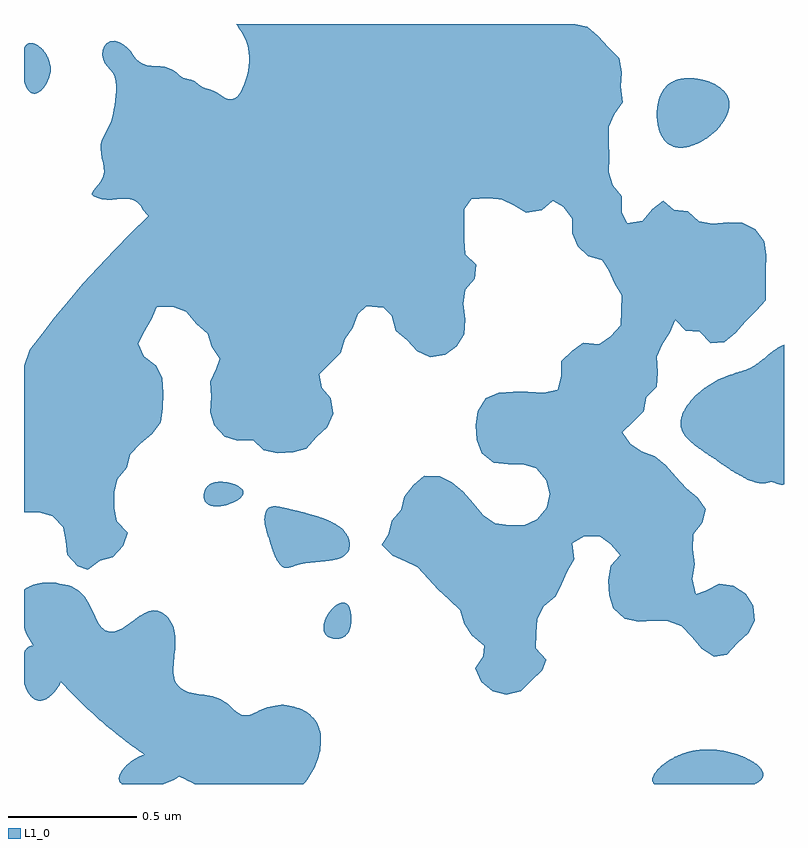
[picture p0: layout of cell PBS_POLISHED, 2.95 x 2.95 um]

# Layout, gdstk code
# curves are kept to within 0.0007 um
import gdstk
lib = gdstk.Library(unit=1e-6, precision=1e-09)
def P(c, l, *ps):  # polygons
    for p in ps: c.add(gdstk.Polygon(p, *l))
L1_0 = (1, 0)

pbs_polished = lib.new_cell('PBS_POLISHED')
P(pbs_polished, L1_0, [(-1.436,-1.176),(-1.421,-1.173),(-1.409,-1.167),(-1.39,-1.152),(-1.373,-1.132),(-1.365,-1.12),(-1.356,-1.101),(-1.352,-1.09),(-1.349,-1.074),(-1.349,-1.058),(-1.5,-1.058),(-1.5,-1.109),(-1.496,-1.121),(-1.487,-1.14),(-1.475,-1.157),(-1.463,-1.168),(-1.454,-1.173),(-1.448,-1.175)],
  [(-1.349,-1.057),(-1.353,-1.039),(-1.356,-1.033),(-1.356,-1.031),(-1.364,-1.016),(-1.374,-1.003),(-1.385,-0.993),(-1.389,-0.988),(-1.393,-0.986),(-1.394,-0.984),(-1.411,-0.973),(-1.413,-0.973),(-1.422,-0.968),(-1.433,-0.964),(-1.447,-0.961),(-1.465,-0.961),(-1.466,-0.962),(-1.469,-0.962),(-1.475,-0.964),(-1.486,-0.97),(-1.497,-0.983),(-1.5,-0.989),(-1.5,-1.058),(-1.349,-1.058)],
  [(-0.916,-1.093),(-0.92,-1.068),(-0.92,-1.047),(-0.916,-1),(-0.916,-0.904),(-0.918,-0.893),(-0.922,-0.883),(-0.933,-0.863),(-0.947,-0.847),(-0.955,-0.84),(-0.971,-0.83),(-0.98,-0.827),(-0.997,-0.825),(-1.015,-0.829),(-1.023,-0.832),(-1.05,-0.847),(-1.106,-0.888),(-1.116,-0.894),(-1.135,-0.903),(-1.145,-0.906),(-1.154,-0.908),(-1.172,-0.907),(-1.186,-0.902),(-1.193,-0.897),(-1.204,-0.885),(-1.219,-0.86),(-1.232,-0.831),(-1.252,-0.791),(-1.264,-0.772),(-1.271,-0.764),(-1.287,-0.749),(-1.306,-0.737),(-1.317,-0.732),(-1.339,-0.725),(-1.374,-0.719),(-1.386,-0.718),(-1.419,-0.718),(-1.439,-0.72),(-1.464,-0.726),(-1.478,-0.731),(-1.496,-0.742),(-1.5,-0.746),(-1.5,-0.892),(-1.498,-0.901),(-1.484,-0.929),(-1.46,-0.969),(-1.439,-1),(-1.415,-1.032),(-1.371,-1.086),(-1.321,-1.141),(-1.243,-1.218),(-1.17,-1.282),(-1.079,-1.353),(-1.053,-1.372),(-0.972,-1.426),(-0.916,-1.459)],
  [(-0.915,-0.988),(-0.913,-0.976),(-0.913,-0.964),(-0.912,-0.951),(-0.912,-0.939),(-0.912,-0.927),(-0.914,-0.915),(-0.916,-0.904),(-0.916,-0.997)],
  [(-0.406,-1.492),(-0.381,-1.455),(-0.366,-1.424),(-0.358,-1.403),(-0.349,-1.37),(-0.346,-1.348),(-0.346,-1.317),(-0.347,-1.306),(-0.355,-1.278),(-0.363,-1.26),(-0.368,-1.252),(-0.374,-1.245),(-0.395,-1.225),(-0.421,-1.21),(-0.43,-1.206),(-0.449,-1.2),(-0.47,-1.195),(-0.501,-1.193),(-0.523,-1.195),(-0.544,-1.199),(-0.554,-1.202),(-0.584,-1.214),(-0.593,-1.219),(-0.612,-1.227),(-0.621,-1.23),(-0.638,-1.233),(-0.654,-1.232),(-0.67,-1.223),(-0.685,-1.211),(-0.709,-1.189),(-0.718,-1.182),(-0.736,-1.171),(-0.767,-1.16),(-0.841,-1.148),(-0.86,-1.143),(-0.877,-1.136),(-0.891,-1.127),(-0.903,-1.116),(-0.912,-1.103),(-0.916,-1.093),(-0.916,-1.459),(-0.891,-1.473),(-0.85,-1.494),(-0.836,-1.5),(-0.414,-1.5)],
  [(-1.206,-0.633),(-1.155,-0.619),(-1.114,-0.575),(-1.097,-0.524),(-1.14,-0.479),(-1.15,-0.428),(-1.15,-0.367),(-1.137,-0.315),(-1.1,-0.272),(-1.087,-0.219),(-1.048,-0.177),(-1.001,-0.139),(-0.968,-0.094),(-0.96,-0.04),(-0.959,0.019),(-0.962,0.077),(-0.986,0.125),(-1.035,0.163),(-1.057,0.211),(-1.031,0.262),(-1.004,0.308),(-0.984,0.354),(-0.917,0.352),(-0.87,0.335),(-0.83,0.289),(-0.787,0.25),(-0.77,0.199),(-0.74,0.152),(-0.753,0.113),(-0.777,0.063),(-0.772,0.004),(-0.777,-0.056),(-0.761,-0.106),(-0.72,-0.15),(-0.669,-0.166),(-0.61,-0.164),(-0.569,-0.204),(-0.514,-0.214),(-0.454,-0.211),(-0.403,-0.197),(-0.363,-0.15),(-0.322,-0.113),(-0.299,-0.061),(-0.308,-0.002),(-0.343,0.04),(-0.353,0.093),(-0.309,0.136),(-0.27,0.176),(-0.253,0.228),(-0.223,0.272),(-0.204,0.325),(-0.17,0.356),(-0.102,0.35),(-0.071,0.319),(-0.056,0.262),(-0.011,0.224),(0.028,0.182),(0.078,0.159),(0.136,0.167),(0.181,0.201),(0.21,0.248),(0.215,0.305),(0.207,0.366),(0.215,0.42),(0.251,0.463),(0.257,0.517),(0.214,0.558),(0.211,0.615),(0.21,0.734),(0.238,0.772),(0.299,0.776),(0.345,0.772),(0.345,1.453),(0.086,1.453),(0.014,1.429),(-0.059,1.397),(-0.134,1.361),(-0.209,1.32),(-0.284,1.277),(-0.36,1.23),(-0.436,1.18),(-0.512,1.128),(-0.587,1.073),(-0.662,1.015),(-0.736,0.956),(-0.809,0.895),(-0.881,0.833),(-0.951,0.769),(-1.019,0.705),(-1.086,0.64),(-1.15,0.574),(-1.212,0.508),(-1.271,0.443),(-1.327,0.378),(-1.38,0.313),(-1.43,0.25),(-1.477,0.187),(-1.5,0.126),(-1.5,-0.442),(-1.499,-0.445),(-1.443,-0.445),(-1.389,-0.459),(-1.347,-0.502),(-1.337,-0.555),(-1.331,-0.61),(-1.292,-0.654),(-1.252,-0.667)],
  [(0.345,0.021),(0.294,-0.002),(0.263,-0.051),(0.255,-0.107),(0.259,-0.163),(0.279,-0.215),(0.326,-0.252),(0.345,-0.254)],
  [(0.345,-0.488),(0.33,-0.486),(0.285,-0.455),(0.206,-0.365),(0.163,-0.328),(0.116,-0.304),(0.055,-0.302),(0.013,-0.339),(-0.023,-0.383),(-0.035,-0.435),(-0.071,-0.478),(-0.084,-0.532),(-0.11,-0.571),(-0.067,-0.614),(-0.019,-0.635),(0.03,-0.658),(0.109,-0.745),(0.153,-0.784),(0.195,-0.825),(0.21,-0.877),(0.24,-0.922),(0.288,-0.963),(0.285,-1.003),(0.254,-1.051),(0.277,-1.102),(0.322,-1.139),(0.345,-1.145)],
  [(0.431,-1.14),(0.47,-1.099),(0.514,-1.058),(0.529,-1.017),(0.488,-0.973),(0.495,-0.857),(0.52,-0.81),(0.567,-0.771),(0.59,-0.722),(0.611,-0.673),(0.638,-0.626),(0.631,-0.564),(0.677,-0.537),(0.738,-0.538),(0.78,-0.568),(0.816,-0.612),(0.78,-0.652),(0.77,-0.709),(0.774,-0.767),(0.79,-0.817),(0.835,-0.858),(0.888,-0.869),(0.946,-0.865),(1.004,-0.868),(1.055,-0.887),(1.094,-0.928),(1.134,-0.975),(1.182,-1.006),(1.23,-0.998),(1.272,-0.953),(1.315,-0.914),(1.339,-0.865),(1.334,-0.807),(1.305,-0.76),(1.256,-0.73),(1.202,-0.722),(1.149,-0.749),(1.111,-0.763),(1.097,-0.702),(1.106,-0.647),(1.099,-0.587),(1.1,-0.529),(1.135,-0.485),(1.148,-0.433),(1.118,-0.387),(1.073,-0.35),(1.032,-0.306),(0.993,-0.262),(0.95,-0.227),(0.899,-0.208),(0.855,-0.177),(0.825,-0.134),(0.909,-0.052),(0.917,0.003),(0.958,0.044),(0.962,0.1),(0.958,0.16),(0.98,0.209),(1.009,0.254),(1.03,0.303),(1.071,0.262),(1.126,0.257),(1.168,0.212),(1.221,0.217),(1.265,0.253),(1.303,0.297),(1.346,0.338),(1.382,0.38),(1.384,0.555),(1.377,0.609),(1.342,0.656),(1.291,0.68),(1.236,0.682),(1.176,0.677),(1.121,0.686),(1.079,0.725),(1.024,0.732),(0.984,0.766),(0.941,0.734),(0.904,0.688),(0.843,0.679),(0.822,0.722),(0.822,0.784),(0.788,0.827),(0.772,0.877),(0.774,0.937),(0.772,0.996),(0.773,1.053),(0.794,1.103),(0.826,1.148),(0.818,1.209),(0.822,1.266),(0.813,1.32),(0.771,1.362),(0.732,1.406),(0.688,1.442),(0.641,1.453),(0.345,1.453),(0.345,0.772),(0.358,0.771),(0.403,0.749),(0.452,0.72),(0.512,0.73),(0.554,0.766),(0.596,0.742),(0.631,0.697),(0.631,0.64),(0.651,0.589),(0.692,0.55),(0.747,0.535),(0.773,0.497),(0.796,0.444),(0.822,0.4),(0.821,0.338),(0.818,0.283),(0.779,0.24),(0.735,0.208),(0.673,0.215),(0.63,0.183),(0.588,0.142),(0.588,0.084),(0.573,0.031),(0.519,0.021),(0.458,0.024),(0.401,0.025),(0.345,0.021),(0.345,-0.254),(0.381,-0.258),(0.437,-0.258),(0.49,-0.274),(0.529,-0.319),(0.543,-0.373),(0.531,-0.426),(0.494,-0.471),(0.443,-0.494),(0.385,-0.494),(0.345,-0.488),(0.345,-1.145),(0.374,-1.153)],
  [(-1.459,1.182),(-1.452,1.183),(-1.449,1.185),(-1.447,1.185),(-1.432,1.196),(-1.424,1.206),(-1.422,1.207),(-1.411,1.224),(-1.403,1.241),(-1.398,1.259),(-1.398,1.264),(-1.397,1.266),(-1.397,1.287),(-1.5,1.287),(-1.5,1.229),(-1.497,1.223),(-1.496,1.218),(-1.491,1.207),(-1.489,1.205),(-1.489,1.203),(-1.485,1.199),(-1.485,1.197),(-1.478,1.191),(-1.475,1.187),(-1.467,1.183)],
  [(-1.397,1.289),(-1.4,1.301),(-1.4,1.305),(-1.402,1.308),(-1.403,1.314),(-1.412,1.331),(-1.412,1.333),(-1.426,1.352),(-1.429,1.354),(-1.433,1.359),(-1.45,1.372),(-1.468,1.379),(-1.479,1.379),(-1.482,1.378),(-1.488,1.375),(-1.488,1.374),(-1.493,1.37),(-1.5,1.36),(-1.5,1.287),(-1.397,1.287)],
  [(-0.552,1.453),(-0.676,1.453),(-0.671,1.448),(-0.654,1.421),(-0.638,1.391),(-0.629,1.359),(-0.626,1.342),(-0.624,1.325),(-0.624,1.307),(-0.626,1.289),(-0.632,1.254),(-0.644,1.218),(-0.66,1.186),(-0.67,1.173),(-0.681,1.164),(-0.693,1.16),(-0.706,1.161),(-0.72,1.167),(-0.765,1.193),(-0.809,1.21),(-0.823,1.219),(-0.836,1.23),(-0.851,1.237),(-0.883,1.245),(-0.897,1.254),(-0.909,1.266),(-0.923,1.276),(-0.938,1.282),(-0.954,1.286),(-1.023,1.293),(-1.039,1.298),(-1.052,1.306),(-1.064,1.317),(-1.075,1.331),(-1.085,1.347),(-1.098,1.361),(-1.113,1.373),(-1.13,1.382),(-1.148,1.387),(-1.165,1.386),(-1.178,1.379),(-1.188,1.367),(-1.194,1.351),(-1.196,1.333),(-1.193,1.316),(-1.186,1.301),(-1.155,1.263),(-1.148,1.248),(-1.144,1.231),(-1.142,1.213),(-1.143,1.175),(-1.145,1.156),(-1.151,1.121),(-1.157,1.09),(-1.161,1.075),(-1.167,1.061),(-1.19,1.017),(-1.197,1.001),(-1.201,0.984),(-1.202,0.967),(-1.2,0.95),(-1.19,0.896),(-1.189,0.878),(-1.192,0.861),(-1.199,0.844),(-1.233,0.802),(-1.236,0.791),(-1.229,0.783),(-1.216,0.777),(-1.198,0.773),(-1.178,0.771),(-1.158,0.771),(-1.12,0.774),(-1.103,0.774),(-1.087,0.772),(-1.073,0.768),(-1.059,0.76),(-1.047,0.747),(-1.036,0.73),(-1.012,0.7),(-0.997,0.691),(-0.982,0.687),(-0.966,0.685),(-0.95,0.681),(-0.935,0.674),(-0.922,0.662),(-0.91,0.649),(-0.896,0.638),(-0.881,0.631),(-0.865,0.63),(-0.81,0.638),(-0.792,0.638),(-0.775,0.634),(-0.76,0.627),(-0.745,0.618),(-0.716,0.603),(-0.687,0.593),(-0.673,0.587),(-0.659,0.58),(-0.645,0.571),(-0.605,0.535),(-0.566,0.494),(-0.552,0.482)],
  [(-0.454,0.445),(-0.438,0.45),(-0.39,0.473),(-0.373,0.48),(-0.339,0.491),(-0.305,0.497),(-0.289,0.501),(-0.26,0.511),(-0.248,0.519),(-0.237,0.529),(-0.229,0.543),(-0.222,0.558),(-0.21,0.594),(-0.203,0.611),(-0.195,0.627),(-0.185,0.641),(-0.173,0.653),(-0.159,0.662),(-0.144,0.669),(-0.111,0.681),(-0.086,0.693),(-0.081,0.702),(-0.082,0.712),(-0.089,0.725),(-0.099,0.739),(-0.129,0.767),(-0.159,0.793),(-0.188,0.815),(-0.213,0.838),(-0.233,0.863),(-0.242,0.878),(-0.249,0.893),(-0.254,0.91),(-0.257,0.927),(-0.259,0.943),(-0.258,0.96),(-0.255,0.977),(-0.249,0.992),(-0.241,1.006),(-0.23,1.02),(-0.218,1.031),(-0.203,1.041),(-0.188,1.049),(-0.171,1.055),(-0.153,1.059),(-0.134,1.06),(-0.115,1.059),(-0.077,1.053),(-0.041,1.049),(-0.025,1.05),(-0.011,1.054),(0.002,1.061),(0.012,1.073),(0.02,1.087),(0.024,1.103),(0.023,1.119),(0.018,1.134),(0.008,1.149),(-0.005,1.162),(-0.02,1.175),(-0.054,1.198),(-0.084,1.221),(-0.095,1.233),(-0.101,1.246),(-0.103,1.259),(-0.101,1.273),(-0.095,1.286),(-0.087,1.3),(-0.064,1.326),(-0.051,1.338),(-0.023,1.359),(0.005,1.375),(0.021,1.381),(0.053,1.388),(0.071,1.389),(0.09,1.388),(0.149,1.379),(0.166,1.378),(0.182,1.381),(0.195,1.389),(0.204,1.401),(0.209,1.417),(0.213,1.435),(0.213,1.453),(-0.552,1.453),(-0.552,0.482),(-0.539,0.47),(-0.512,0.451),(-0.498,0.445),(-0.483,0.442),(-0.469,0.442)],
  [(-1.014,-1.382),(-1.022,-1.383),(-1.026,-1.385),(-1.029,-1.385),(-1.038,-1.388),(-1.063,-1.399),(-1.083,-1.412),(-1.099,-1.425),(-1.1,-1.427),(-1.108,-1.434),(-1.12,-1.449),(-1.13,-1.47),(-1.131,-1.482),(-1.13,-1.483),(-1.13,-1.487),(-1.126,-1.495),(-1.12,-1.5),(-1.014,-1.5)],
  [(-0.959,-1.5),(-0.929,-1.489),(-0.917,-1.483),(-0.9,-1.472),(-0.898,-1.469),(-0.891,-1.463),(-0.885,-1.453),(-0.885,-1.45),(-0.884,-1.449),(-0.884,-1.437),(-0.887,-1.429),(-0.894,-1.419),(-0.896,-1.418),(-0.901,-1.412),(-0.91,-1.406),(-0.911,-1.404),(-0.929,-1.394),(-0.95,-1.385),(-0.972,-1.38),(-0.98,-1.38),(-0.982,-1.379),(-0.997,-1.379),(-1.012,-1.381),(-1.014,-1.382),(-1.014,-1.5)],
  [(-0.595,0.951),(-0.625,0.961),(-0.628,0.963),(-0.651,0.971),(-0.685,0.985),(-0.722,0.997),(-0.755,1.004),(-0.769,1.005),(-0.782,1.005),(-0.803,1.001),(-0.81,0.999),(-0.824,0.991),(-0.839,0.975),(-0.844,0.968),(-0.85,0.956),(-0.855,0.943),(-0.859,0.925),(-0.86,0.915),(-0.86,0.901),(-0.856,0.88),(-0.853,0.872),(-0.847,0.861),(-0.836,0.849),(-0.818,0.838),(-0.805,0.833),(-0.768,0.825),(-0.748,0.823),(-0.715,0.822),(-0.683,0.819),(-0.662,0.813),(-0.642,0.803),(-0.628,0.791),(-0.609,0.772),(-0.603,0.764),(-0.595,0.756)],
  [(-0.489,0.691),(-0.473,0.692),(-0.456,0.696),(-0.428,0.709),(-0.414,0.72),(-0.41,0.722),(-0.389,0.746),(-0.377,0.767),(-0.37,0.784),(-0.364,0.811),(-0.363,0.838),(-0.364,0.847),(-0.368,0.862),(-0.373,0.873),(-0.388,0.891),(-0.394,0.896),(-0.42,0.91),(-0.436,0.916),(-0.462,0.923),(-0.553,0.939),(-0.595,0.951),(-0.595,0.756),(-0.575,0.732),(-0.571,0.729),(-0.562,0.719),(-0.545,0.706),(-0.53,0.698),(-0.522,0.695),(-0.502,0.691)],
  [(-0.749,-0.421),(-0.746,-0.421),(-0.745,-0.42),(-0.735,-0.42),(-0.727,-0.418),(-0.727,-0.326),(-0.745,-0.326),(-0.763,-0.329),(-0.78,-0.337),(-0.788,-0.344),(-0.789,-0.347),(-0.795,-0.354),(-0.801,-0.372),(-0.801,-0.389),(-0.8,-0.39),(-0.8,-0.393),(-0.797,-0.401),(-0.788,-0.411),(-0.785,-0.412),(-0.784,-0.414),(-0.777,-0.416),(-0.774,-0.418),(-0.765,-0.42)],
  [(-0.726,-0.418),(-0.714,-0.416),(-0.691,-0.408),(-0.686,-0.405),(-0.682,-0.404),(-0.68,-0.402),(-0.678,-0.402),(-0.663,-0.392),(-0.652,-0.38),(-0.648,-0.371),(-0.648,-0.363),(-0.649,-0.363),(-0.649,-0.361),(-0.652,-0.355),(-0.667,-0.343),(-0.669,-0.343),(-0.671,-0.341),(-0.682,-0.336),(-0.706,-0.329),(-0.718,-0.327),(-0.725,-0.327),(-0.727,-0.326),(-0.727,-0.418)],
  [(-0.477,-0.659),(-0.466,-0.658),(-0.443,-0.65),(-0.44,-0.65),(-0.431,-0.647),(-0.431,-0.441),(-0.511,-0.422),(-0.519,-0.421),(-0.532,-0.421),(-0.537,-0.422),(-0.546,-0.425),(-0.555,-0.433),(-0.563,-0.45),(-0.566,-0.47),(-0.565,-0.489),(-0.563,-0.498),(-0.552,-0.537),(-0.55,-0.54),(-0.542,-0.57),(-0.54,-0.573),(-0.528,-0.609),(-0.516,-0.633),(-0.508,-0.645),(-0.497,-0.655),(-0.492,-0.658),(-0.488,-0.659),(-0.482,-0.66)],
  [(-0.431,-0.647),(-0.396,-0.64),(-0.337,-0.635),(-0.3,-0.63),(-0.286,-0.627),(-0.271,-0.622),(-0.253,-0.612),(-0.241,-0.598),(-0.237,-0.589),(-0.235,-0.579),(-0.235,-0.56),(-0.237,-0.55),(-0.242,-0.537),(-0.244,-0.535),(-0.246,-0.53),(-0.254,-0.519),(-0.273,-0.501),(-0.276,-0.5),(-0.291,-0.489),(-0.309,-0.48),(-0.315,-0.478),(-0.324,-0.473),(-0.351,-0.464),(-0.354,-0.462),(-0.41,-0.446),(-0.431,-0.441)],
  [(-0.285,-0.936),(-0.27,-0.934),(-0.262,-0.931),(-0.252,-0.925),(-0.242,-0.915),(-0.242,-0.913),(-0.239,-0.91),(-0.239,-0.908),(-0.236,-0.904),(-0.231,-0.889),(-0.229,-0.877),(-0.229,-0.87),(-0.228,-0.868),(-0.332,-0.868),(-0.336,-0.882),(-0.336,-0.902),(-0.334,-0.909),(-0.329,-0.918),(-0.328,-0.918),(-0.325,-0.922),(-0.32,-0.925),(-0.319,-0.927),(-0.309,-0.932),(-0.303,-0.934),(-0.299,-0.934),(-0.298,-0.935)],
  [(-0.228,-0.866),(-0.229,-0.84),(-0.23,-0.839),(-0.231,-0.829),(-0.233,-0.825),(-0.235,-0.816),(-0.239,-0.808),(-0.246,-0.8),(-0.251,-0.797),(-0.253,-0.797),(-0.253,-0.796),(-0.263,-0.795),(-0.263,-0.796),(-0.268,-0.796),(-0.28,-0.801),(-0.295,-0.812),(-0.308,-0.825),(-0.31,-0.829),(-0.315,-0.834),(-0.315,-0.836),(-0.319,-0.84),(-0.319,-0.842),(-0.322,-0.845),(-0.322,-0.847),(-0.324,-0.849),(-0.327,-0.855),(-0.327,-0.857),(-0.329,-0.859),(-0.332,-0.868),(-0.228,-0.868)],
  [(0.291,0.974),(0.306,0.975),(0.324,0.98),(0.348,0.992),(0.349,0.994),(0.355,0.997),(0.362,1.003),(0.377,1.019),(0.384,1.029),(0.391,1.042),(0.396,1.058),(0.397,1.076),(0.193,1.076),(0.194,1.063),(0.2,1.042),(0.208,1.026),(0.219,1.01),(0.221,1.009),(0.231,0.998),(0.241,0.99),(0.247,0.987),(0.248,0.985),(0.254,0.983),(0.263,0.978),(0.281,0.974)],
  [(0.397,1.078),(0.396,1.086),(0.392,1.1),(0.382,1.12),(0.374,1.131),(0.372,1.132),(0.368,1.138),(0.366,1.139),(0.36,1.146),(0.338,1.163),(0.318,1.173),(0.303,1.178),(0.293,1.18),(0.27,1.18),(0.258,1.177),(0.235,1.165),(0.224,1.156),(0.213,1.143),(0.207,1.133),(0.199,1.117),(0.193,1.095),(0.193,1.076),(0.397,1.076)],
  [(1.162,-1.366),(1.134,-1.366),(1.094,-1.372),(1.057,-1.383),(1.029,-1.395),(1.02,-1.401),(1.013,-1.404),(0.987,-1.422),(0.972,-1.434),(0.97,-1.437),(0.961,-1.445),(0.949,-1.461),(0.942,-1.478),(0.942,-1.49),(0.946,-1.499),(0.948,-1.5),(1.162,-1.5)],
  [(1.342,-1.499),(1.353,-1.493),(1.365,-1.483),(1.369,-1.477),(1.373,-1.467),(1.373,-1.462),(1.371,-1.453),(1.364,-1.441),(1.362,-1.44),(1.36,-1.436),(1.345,-1.422),(1.342,-1.421),(1.338,-1.417),(1.33,-1.413),(1.32,-1.406),(1.302,-1.397),(1.278,-1.388),(1.275,-1.386),(1.219,-1.371),(1.207,-1.37),(1.191,-1.367),(1.162,-1.366),(1.162,-1.5),(1.34,-1.5)],
  [(1.054,0.973),(1.07,0.974),(1.085,0.977),(1.093,0.98),(1.093,1.243),(1.074,1.243),(1.052,1.24),(1.039,1.237),(1.028,1.233),(1.014,1.226),(1.004,1.219),(0.993,1.209),(0.979,1.189),(0.972,1.175),(0.966,1.157),(0.961,1.134),(0.959,1.117),(0.959,1.087),(0.96,1.077),(0.963,1.058),(0.967,1.046),(0.967,1.043),(0.971,1.031),(0.977,1.018),(0.989,1),(1,0.989),(1.006,0.985),(1.025,0.976),(1.042,0.973)],
  [(1.096,0.981),(1.099,0.981),(1.107,0.984),(1.109,0.986),(1.128,0.994),(1.144,1.003),(1.156,1.012),(1.159,1.013),(1.187,1.037),(1.205,1.056),(1.214,1.068),(1.227,1.089),(1.237,1.113),(1.237,1.116),(1.24,1.125),(1.241,1.147),(1.238,1.163),(1.231,1.178),(1.227,1.184),(1.21,1.202),(1.207,1.203),(1.193,1.214),(1.164,1.228),(1.142,1.235),(1.115,1.241),(1.093,1.243),(1.093,0.98)],
  [(1.447,-0.337),(1.453,-0.336),(1.453,-0.081),(1.053,-0.081),(1.051,-0.095),(1.051,-0.104),(1.052,-0.113),(1.056,-0.126),(1.065,-0.143),(1.082,-0.163),(1.095,-0.175),(1.1,-0.178),(1.114,-0.19),(1.249,-0.282),(1.297,-0.31),(1.307,-0.314),(1.311,-0.317),(1.335,-0.326),(1.362,-0.332),(1.379,-0.332),(1.405,-0.326),(1.417,-0.329),(1.425,-0.333),(1.436,-0.336)],
  [(1.453,0.206),(1.453,0.205),(1.445,0.203),(1.424,0.192),(1.393,0.169),(1.38,0.157),(1.352,0.135),(1.324,0.118),(1.302,0.108),(1.234,0.087),(1.205,0.075),(1.195,0.07),(1.145,0.039),(1.113,0.012),(1.089,-0.013),(1.086,-0.018),(1.082,-0.022),(1.07,-0.04),(1.06,-0.058),(1.055,-0.072),(1.053,-0.081),(1.453,-0.081)])

lib.write_gds('PBS_POLISHED.gds')
